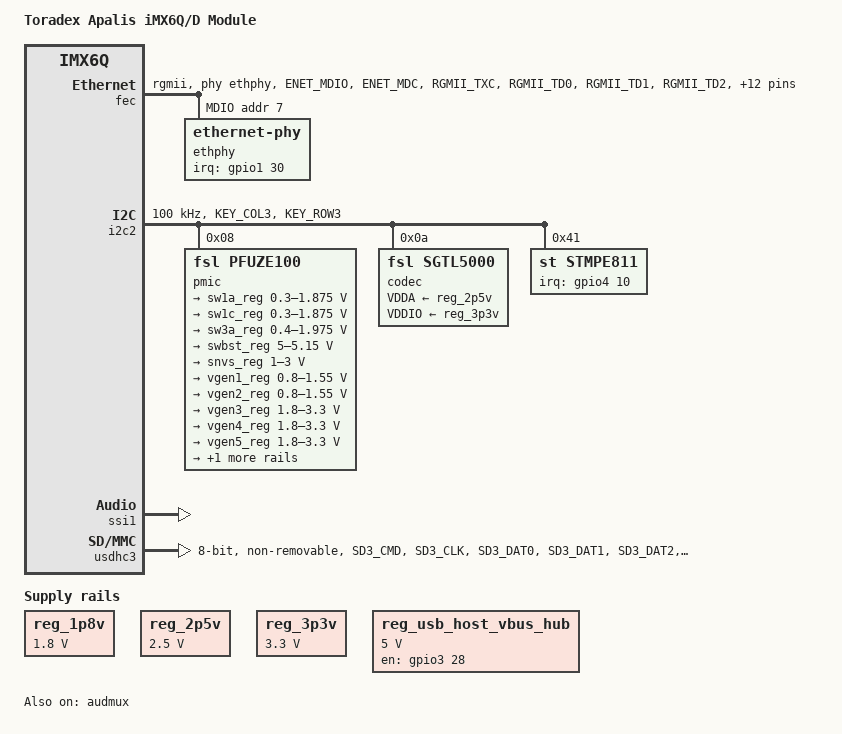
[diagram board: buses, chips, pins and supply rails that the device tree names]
/*
 * Copyright 2014-2016 Toradex AG
 * Copyright 2012 Freescale Semiconductor, Inc.
 * Copyright 2011 Linaro Ltd.
 *
 * This file is dual-licensed: you can use it either under the terms
 * of the GPL or the X11 license, at your option. Note that this dual
 * licensing only applies to this file, and not this project as a
 * whole.
 *
 *  a) This file is free software; you can redistribute it and/or
 *     modify it under the terms of the GNU General Public License
 *     version 2 as published by the Free Software Foundation.
 *
 *     This file is distributed in the hope that it will be useful
 *     but WITHOUT ANY WARRANTY; without even the implied warranty of
 *     MERCHANTABILITY or FITNESS FOR A PARTICULAR PURPOSE.  See the
 *     GNU General Public License for more details.
 *
 * Or, alternatively
 *
 *  b) Permission is hereby granted, free of charge, to any person
 *     obtaining a copy of this software and associated documentation
 *     files (the "Software"), to deal in the Software without
 *     restriction, including without limitation the rights to use
 *     copy, modify, merge, publish, distribute, sublicense, and/or
 *     sell copies of the Software, and to permit persons to whom the
 *     Software is furnished to do so, subject to the following
 *     conditions:
 *
 *     The above copyright notice and this permission notice shall be
 *     included in all copies or substantial portions of the Software.
 *
 *     THE SOFTWARE IS PROVIDED , WITHOUT WARRANTY OF ANY KIND
 *     EXPRESS OR IMPLIED, INCLUDING BUT NOT LIMITED TO THE WARRANTIES
 *     OF MERCHANTABILITY, FITNESS FOR A PARTICULAR PURPOSE AND
 *     NONINFRINGEMENT. IN NO EVENT SHALL THE AUTHORS OR COPYRIGHT
 *     HOLDERS BE LIABLE FOR ANY CLAIM, DAMAGES OR OTHER LIABILITY
 *     WHETHER IN AN ACTION OF CONTRACT, TORT OR OTHERWISE, ARISING
 *     FROM, OUT OF OR IN CONNECTION WITH THE SOFTWARE OR THE USE OR
 *     OTHER DEALINGS IN THE SOFTWARE.
 */

#include <dt-bindings/gpio/gpio.h>

/ {
	model = "Toradex Apalis iMX6Q/D Module";
	compatible = "toradex,apalis_imx6q", "fsl,imx6q";

	backlight: backlight {
		compatible = "pwm-backlight";
		pwms = <&pwm4 0 5000000>;
		status = "disabled";
	};

	/* DDC_I2C: I2C2_SDA/SCL on MXM3 205/207 */
	i2cddc: i2c@0 {
		compatible = "i2c-gpio";
		pinctrl-names = "default";
		pinctrl-0 = <&pinctrl_i2c_ddc>;
		gpios = <&gpio3 16 GPIO_ACTIVE_HIGH /* sda */
			 &gpio2 30 GPIO_ACTIVE_HIGH /* scl */
			>;
		i2c-gpio,delay-us = <2>;	/* ~100 kHz */
		status = "disabled";
	};

	reg_1p8v: regulator-1p8v {
		compatible = "regulator-fixed";
		regulator-name = "1P8V";
		regulator-min-microvolt = <1800000>;
		regulator-max-microvolt = <1800000>;
		regulator-always-on;
	};

	reg_2p5v: regulator-2p5v {
		compatible = "regulator-fixed";
		regulator-name = "2P5V";
		regulator-min-microvolt = <2500000>;
		regulator-max-microvolt = <2500000>;
		regulator-always-on;
	};

	reg_3p3v: regulator-3p3v {
		compatible = "regulator-fixed";
		regulator-name = "3P3V";
		regulator-min-microvolt = <3300000>;
		regulator-max-microvolt = <3300000>;
		regulator-always-on;
	};

	reg_usb_otg_vbus: regulator-usb-otg-vbus {
		compatible = "regulator-fixed";
		pinctrl-names = "default";
		pinctrl-0 = <&pinctrl_regulator_usbotg_pwr>;
		regulator-name = "usb_otg_vbus";
		regulator-min-microvolt = <5000000>;
		regulator-max-microvolt = <5000000>;
		gpio = <&gpio3 22 GPIO_ACTIVE_HIGH>;
		enable-active-high;
		status = "disabled";
	};

	/* on module USB hub */
	reg_usb_host_vbus_hub: regulator-usb-host-vbus-hub {
		compatible = "regulator-fixed";
		pinctrl-names = "default";
		pinctrl-0 = <&pinctrl_regulator_usbhub_pwr>;
		regulator-name = "usb_host_vbus_hub";
		regulator-min-microvolt = <5000000>;
		regulator-max-microvolt = <5000000>;
		gpio = <&gpio3 28 GPIO_ACTIVE_HIGH>;
		startup-delay-us = <2000>;
		enable-active-high;
		status = "okay";
	};

	reg_usb_host_vbus: regulator-usb-host-vbus {
		compatible = "regulator-fixed";
		pinctrl-names = "default";
		pinctrl-0 = <&pinctrl_regulator_usbh_pwr>;
		regulator-name = "usb_host_vbus";
		regulator-min-microvolt = <5000000>;
		regulator-max-microvolt = <5000000>;
		gpio =  <&gpio1 0 GPIO_ACTIVE_HIGH>;
		enable-active-high;
		vin-supply = <&reg_usb_host_vbus_hub>;
		status = "disabled";
	};

	sound {
		compatible = "fsl,imx-audio-sgtl5000";
		model = "imx6q-apalis-sgtl5000";
		ssi-controller = <&ssi1>;
		audio-codec = <&codec>;
		audio-routing =
			"LINE_IN", "Line In Jack",
			"MIC_IN", "Mic Jack",
			"Mic Jack", "Mic Bias",
			"Headphone Jack", "HP_OUT";
		mux-int-port = <1>;
		mux-ext-port = <4>;
	};

	sound_spdif: sound-spdif {
		compatible = "fsl,imx-audio-spdif";
		model = "imx-spdif";
		spdif-controller = <&spdif>;
		spdif-in;
		spdif-out;
		status = "disabled";
	};
};

&audmux {
	pinctrl-names = "default";
	pinctrl-0 = <&pinctrl_audmux>;
	status = "okay";
};

&can1 {
	pinctrl-names = "default";
	pinctrl-0 = <&pinctrl_flexcan1>;
	status = "disabled";
};

&can2 {
	pinctrl-names = "default";
	pinctrl-0 = <&pinctrl_flexcan2>;
	status = "disabled";
};

/* Apalis SPI1 */
&ecspi1 {
	fsl,spi-num-chipselects = <1>;
	cs-gpios = <&gpio5 25 GPIO_ACTIVE_HIGH>;
	pinctrl-names = "default";
	pinctrl-0 = <&pinctrl_ecspi1>;
	status = "disabled";
};

/* Apalis SPI2 */
&ecspi2 {
	fsl,spi-num-chipselects = <1>;
	cs-gpios = <&gpio2 26 GPIO_ACTIVE_HIGH>;
	pinctrl-names = "default";
	pinctrl-0 = <&pinctrl_ecspi2>;
	status = "disabled";
};

&fec {
	pinctrl-names = "default";
	pinctrl-0 = <&pinctrl_enet>;
	phy-mode = "rgmii";
	phy-handle = <&ethphy>;
	phy-reset-duration = <10>;
	phy-reset-gpios = <&gpio1 25 GPIO_ACTIVE_LOW>;
	status = "okay";

	mdio {
		#address-cells = <1>;
		#size-cells = <0>;

		ethphy: ethernet-phy@7 {
			interrupt-parent = <&gpio1>;
			interrupts = <30 IRQ_TYPE_LEVEL_LOW>;
			reg = <7>;
		};
	};
};

/*
 * GEN1_I2C: I2C1_SDA/SCL on MXM3 209/211 (e.g. RTC on carrier
 * board)
 */
&i2c1 {
	clock-frequency = <100000>;
	pinctrl-names = "default";
	pinctrl-0 = <&pinctrl_i2c1>;
	status = "disabled";
};

/*
 * PWR_I2C: power I2C to audio codec, PMIC, temperature sensor and
 * touch screen controller
 */
&i2c2 {
	clock-frequency = <100000>;
	pinctrl-names = "default";
	pinctrl-0 = <&pinctrl_i2c2>;
	status = "okay";

	pmic: pfuze100@08 {
		compatible = "fsl,pfuze100";
		reg = <0x08>;

		regulators {
			sw1a_reg: sw1ab {
				regulator-min-microvolt = <300000>;
				regulator-max-microvolt = <1875000>;
				regulator-boot-on;
				regulator-always-on;
				regulator-ramp-delay = <6250>;
			};

			sw1c_reg: sw1c {
				regulator-min-microvolt = <300000>;
				regulator-max-microvolt = <1875000>;
				regulator-boot-on;
				regulator-always-on;
				regulator-ramp-delay = <6250>;
			};

			sw3a_reg: sw3a {
				regulator-min-microvolt = <400000>;
				regulator-max-microvolt = <1975000>;
				regulator-boot-on;
				regulator-always-on;
			};

			swbst_reg: swbst {
				regulator-min-microvolt = <5000000>;
				regulator-max-microvolt = <5150000>;
				regulator-boot-on;
				regulator-always-on;
			};

			snvs_reg: vsnvs {
				regulator-min-microvolt = <1000000>;
				regulator-max-microvolt = <3000000>;
				regulator-boot-on;
				regulator-always-on;
			};

			vref_reg: vrefddr {
				regulator-boot-on;
				regulator-always-on;
			};

			vgen1_reg: vgen1 {
				regulator-min-microvolt = <800000>;
				regulator-max-microvolt = <1550000>;
				regulator-boot-on;
				regulator-always-on;
			};

			vgen2_reg: vgen2 {
				regulator-min-microvolt = <800000>;
				regulator-max-microvolt = <1550000>;
				regulator-boot-on;
				regulator-always-on;
			};

			vgen3_reg: vgen3 {
				regulator-min-microvolt = <1800000>;
				regulator-max-microvolt = <3300000>;
				regulator-boot-on;
				regulator-always-on;
			};

			vgen4_reg: vgen4 {
				regulator-min-microvolt = <1800000>;
				regulator-max-microvolt = <3300000>;
				regulator-boot-on;
				regulator-always-on;
			};

			vgen5_reg: vgen5 {
				regulator-min-microvolt = <1800000>;
				regulator-max-microvolt = <3300000>;
				regulator-boot-on;
				regulator-always-on;
			};

			vgen6_reg: vgen6 {
				regulator-min-microvolt = <1800000>;
				regulator-max-microvolt = <3300000>;
				regulator-boot-on;
				regulator-always-on;
			};
		};
	};

	codec: sgtl5000@0a {
		compatible = "fsl,sgtl5000";
		reg = <0x0a>;
		clocks = <&clks IMX6QDL_CLK_CKO>;
		VDDA-supply = <&reg_2p5v>;
		VDDIO-supply = <&reg_3p3v>;
	};

	/* STMPE811 touch screen controller */
	stmpe811@41 {
		compatible = "st,stmpe811";
		pinctrl-names = "default";
		pinctrl-0 = <&pinctrl_touch_int>;
		#address-cells = <1>;
		#size-cells = <0>;
		reg = <0x41>;
		interrupts = <10 IRQ_TYPE_LEVEL_LOW>;
		interrupt-parent = <&gpio4>;
		interrupt-controller;
		id = <0>;
		blocks = <0x5>;
		irq-trigger = <0x1>;

		stmpe_touchscreen {
			compatible = "st,stmpe-ts";
			reg = <0>;
			/* 3.25 MHz ADC clock speed */
			st,adc-freq = <1>;
			/* 8 sample average control */
			st,ave-ctrl = <3>;
			/* 7 length fractional part in z */
			st,fraction-z = <7>;
			/*
			 * 50 mA typical 80 mA max touchscreen drivers
			 * current limit value
			 */
			st,i-drive = <1>;
			/* 12-bit ADC */
			st,mod-12b = <1>;
			/* internal ADC reference */
			st,ref-sel = <0>;
			/* ADC converstion time: 80 clocks */
			st,sample-time = <4>;
			/* 1 ms panel driver settling time */
			st,settling = <3>;
			/* 5 ms touch detect interrupt delay */
			st,touch-det-delay = <5>;
		};
	};
};

/*
 * GEN2_I2C, CAM: I2C3_SDA/SCL on MXM3 201/203 (unused)
 */
&i2c3 {
	clock-frequency = <100000>;
	pinctrl-names = "default", "recovery";
	pinctrl-0 = <&pinctrl_i2c3>;
	pinctrl-1 = <&pinctrl_i2c3_recovery>;
	scl-gpios = <&gpio3 17 GPIO_ACTIVE_HIGH>;
	sda-gpios = <&gpio3 18 GPIO_ACTIVE_HIGH>;
	status = "disabled";
};

&pwm1 {
	pinctrl-names = "default";
	pinctrl-0 = <&pinctrl_pwm1>;
	status = "disabled";
};

&pwm2 {
	pinctrl-names = "default";
	pinctrl-0 = <&pinctrl_pwm2>;
	status = "disabled";
};

&pwm3 {
	pinctrl-names = "default";
	pinctrl-0 = <&pinctrl_pwm3>;
	status = "disabled";
};

&pwm4 {
	pinctrl-names = "default";
	pinctrl-0 = <&pinctrl_pwm4>;
	status = "disabled";
};

&spdif {
	pinctrl-names = "default";
	pinctrl-0 = <&pinctrl_spdif>;
	status = "disabled";
};

&ssi1 {
	status = "okay";
};

&uart1 {
	pinctrl-names = "default";
	pinctrl-0 = <&pinctrl_uart1_dte &pinctrl_uart1_ctrl>;
	fsl,dte-mode;
	uart-has-rtscts;
	status = "disabled";
};

&uart2 {
	pinctrl-names = "default";
	pinctrl-0 = <&pinctrl_uart2_dte>;
	fsl,dte-mode;
	uart-has-rtscts;
	status = "disabled";
};

&uart4 {
	pinctrl-names = "default";
	pinctrl-0 = <&pinctrl_uart4_dte>;
	fsl,dte-mode;
	status = "disabled";
};

&uart5 {
	pinctrl-names = "default";
	pinctrl-0 = <&pinctrl_uart5_dte>;
	fsl,dte-mode;
	status = "disabled";
};

&usbotg {
	pinctrl-names = "default";
	pinctrl-0 = <&pinctrl_usbotg>;
	disable-over-current;
	status = "disabled";
};

/* MMC1 */
&usdhc1 {
	pinctrl-names = "default";
	pinctrl-0 = <&pinctrl_usdhc1>;
	vqmmc-supply = <&reg_3p3v>;
	bus-width = <8>;
	voltage-ranges = <3300 3300>;
	status = "disabled";
};

/* SD1 */
&usdhc2 {
	pinctrl-names = "default";
	pinctrl-0 = <&pinctrl_usdhc2>;
	vqmmc-supply = <&reg_3p3v>;
	bus-width = <4>;
	voltage-ranges = <3300 3300>;
	status = "disabled";
};

/* eMMC */
&usdhc3 {
	pinctrl-names = "default";
	pinctrl-0 = <&pinctrl_usdhc3>;
	vqmmc-supply = <&reg_3p3v>;
	bus-width = <8>;
	voltage-ranges = <3300 3300>;
	non-removable;
	status = "okay";
};

&weim {
	status = "disabled";
};

&iomuxc {
	/* pins used on module */
	pinctrl-names = "default";
	pinctrl-0 = <&pinctrl_reset_moci>;

	pinctrl_apalis_gpio1: gpio2io04grp {
		fsl,pins = <
			MX6QDL_PAD_NANDF_D4__GPIO2_IO04 0x130b0
		>;
	};

	pinctrl_apalis_gpio2: gpio2io05grp {
		fsl,pins = <
			MX6QDL_PAD_NANDF_D5__GPIO2_IO05 0x130b0
		>;
	};

	pinctrl_apalis_gpio3: gpio2io06grp {
		fsl,pins = <
			MX6QDL_PAD_NANDF_D6__GPIO2_IO06 0x130b0
		>;
	};

	pinctrl_apalis_gpio4: gpio2io07grp {
		fsl,pins = <
			MX6QDL_PAD_NANDF_D7__GPIO2_IO07 0x130b0
		>;
	};

	pinctrl_apalis_gpio5: gpio6io10grp {
		fsl,pins = <
			MX6QDL_PAD_NANDF_RB0__GPIO6_IO10 0x130b0
		>;
	};

	pinctrl_apalis_gpio6: gpio6io09grp {
		fsl,pins = <
			MX6QDL_PAD_NANDF_WP_B__GPIO6_IO09 0x130b0
		>;
	};

	pinctrl_apalis_gpio7: gpio1io02grp {
		fsl,pins = <
			MX6QDL_PAD_GPIO_2__GPIO1_IO02 0x130b0
		>;
	};

	pinctrl_apalis_gpio8: gpio1io06grp {
		fsl,pins = <
			MX6QDL_PAD_GPIO_6__GPIO1_IO06 0x130b0
		>;
	};

	pinctrl_audmux: audmuxgrp {
		fsl,pins = <
			MX6QDL_PAD_DISP0_DAT20__AUD4_TXC	0x130b0
			MX6QDL_PAD_DISP0_DAT21__AUD4_TXD	0x130b0
			MX6QDL_PAD_DISP0_DAT22__AUD4_TXFS	0x130b0
			MX6QDL_PAD_DISP0_DAT23__AUD4_RXD	0x130b0
			/* SGTL5000 sys_mclk */
			MX6QDL_PAD_GPIO_5__CCM_CLKO1		0x130b0
		>;
	};

	pinctrl_cam_mclk: cammclkgrp {
		fsl,pins = <
			/* CAM sys_mclk */
			MX6QDL_PAD_NANDF_CS2__CCM_CLKO2 0x00b0
		>;
	};

	pinctrl_ecspi1: ecspi1grp {
		fsl,pins = <
			MX6QDL_PAD_CSI0_DAT6__ECSPI1_MISO 0x100b1
			MX6QDL_PAD_CSI0_DAT5__ECSPI1_MOSI 0x100b1
			MX6QDL_PAD_CSI0_DAT4__ECSPI1_SCLK 0x100b1
			/* SPI1 cs */
			MX6QDL_PAD_CSI0_DAT7__GPIO5_IO25 0x000b1
		>;
	};

	pinctrl_ecspi2: ecspi2grp {
		fsl,pins = <
			MX6QDL_PAD_EIM_OE__ECSPI2_MISO 0x100b1
			MX6QDL_PAD_EIM_CS1__ECSPI2_MOSI 0x100b1
			MX6QDL_PAD_EIM_CS0__ECSPI2_SCLK 0x100b1
			/* SPI2 cs */
			MX6QDL_PAD_EIM_RW__GPIO2_IO26 0x000b1
		>;
	};

	pinctrl_enet: enetgrp {
		fsl,pins = <
			MX6QDL_PAD_ENET_MDIO__ENET_MDIO		0x100b0
			MX6QDL_PAD_ENET_MDC__ENET_MDC		0x100b0
			MX6QDL_PAD_RGMII_TXC__RGMII_TXC		0x100b0
			MX6QDL_PAD_RGMII_TD0__RGMII_TD0		0x100b0
			MX6QDL_PAD_RGMII_TD1__RGMII_TD1		0x100b0
			MX6QDL_PAD_RGMII_TD2__RGMII_TD2		0x100b0
			MX6QDL_PAD_RGMII_TD3__RGMII_TD3		0x100b0
			MX6QDL_PAD_RGMII_TX_CTL__RGMII_TX_CTL	0x100b0
			MX6QDL_PAD_ENET_REF_CLK__ENET_TX_CLK	0x100b0
			MX6QDL_PAD_RGMII_RXC__RGMII_RXC		0x1b0b0
			MX6QDL_PAD_RGMII_RD0__RGMII_RD0		0x1b0b0
			MX6QDL_PAD_RGMII_RD1__RGMII_RD1		0x1b0b0
			MX6QDL_PAD_RGMII_RD2__RGMII_RD2		0x1b0b0
			MX6QDL_PAD_RGMII_RD3__RGMII_RD3		0x1b0b0
			MX6QDL_PAD_RGMII_RX_CTL__RGMII_RX_CTL	0x1b0b0
			/* Ethernet PHY reset */
			MX6QDL_PAD_ENET_CRS_DV__GPIO1_IO25	0x000b0
			/* Ethernet PHY interrupt */
			MX6QDL_PAD_ENET_TXD0__GPIO1_IO30	0x000b1
		>;
	};

	pinctrl_flexcan1: flexcan1grp {
		fsl,pins = <
			MX6QDL_PAD_GPIO_7__FLEXCAN1_TX 0x1b0b0
			MX6QDL_PAD_GPIO_8__FLEXCAN1_RX 0x1b0b0
		>;
	};

	pinctrl_flexcan2: flexcan2grp {
		fsl,pins = <
			MX6QDL_PAD_KEY_COL4__FLEXCAN2_TX 0x1b0b0
			MX6QDL_PAD_KEY_ROW4__FLEXCAN2_RX 0x1b0b0
		>;
	};

	pinctrl_gpio_keys: gpio1io04grp {
		fsl,pins = <
			/* Power button */
			MX6QDL_PAD_GPIO_4__GPIO1_IO04 0x1b0b0
		>;
	};

	pinctrl_hdmi_cec: hdmicecgrp {
		fsl,pins = <
			MX6QDL_PAD_KEY_ROW2__HDMI_TX_CEC_LINE 0x1f8b0
		>;
	};

	pinctrl_i2c_ddc: gpioi2cddcgrp {
		fsl,pins = <
			/* DDC bitbang */
			MX6QDL_PAD_EIM_EB2__GPIO2_IO30 0x1b0b0
			MX6QDL_PAD_EIM_D16__GPIO3_IO16 0x1b0b0
		>;
	};

	pinctrl_i2c1: i2c1grp {
		fsl,pins = <
			MX6QDL_PAD_CSI0_DAT8__I2C1_SDA 0x4001b8b1
			MX6QDL_PAD_CSI0_DAT9__I2C1_SCL 0x4001b8b1
		>;
	};

	pinctrl_i2c2: i2c2grp {
		fsl,pins = <
			MX6QDL_PAD_KEY_COL3__I2C2_SCL 0x4001b8b1
			MX6QDL_PAD_KEY_ROW3__I2C2_SDA 0x4001b8b1
		>;
	};

	pinctrl_i2c3: i2c3grp {
		fsl,pins = <
			MX6QDL_PAD_EIM_D17__I2C3_SCL 0x4001b8b1
			MX6QDL_PAD_EIM_D18__I2C3_SDA 0x4001b8b1
		>;
	};

	pinctrl_i2c3_recovery: i2c3recoverygrp {
		fsl,pins = <
			MX6QDL_PAD_EIM_D17__GPIO3_IO17 0x4001b8b1
			MX6QDL_PAD_EIM_D18__GPIO3_IO18 0x4001b8b1
		>;
	};

	pinctrl_ipu1_csi0: ipu1csi0grp { /* parallel camera */
		fsl,pins = <
			MX6QDL_PAD_CSI0_DAT12__IPU1_CSI0_DATA12  0xb0b1
			MX6QDL_PAD_CSI0_DAT13__IPU1_CSI0_DATA13  0xb0b1
			MX6QDL_PAD_CSI0_DAT14__IPU1_CSI0_DATA14  0xb0b1
			MX6QDL_PAD_CSI0_DAT15__IPU1_CSI0_DATA15  0xb0b1
			MX6QDL_PAD_CSI0_DAT16__IPU1_CSI0_DATA16  0xb0b1
			MX6QDL_PAD_CSI0_DAT17__IPU1_CSI0_DATA17  0xb0b1
			MX6QDL_PAD_CSI0_DAT18__IPU1_CSI0_DATA18  0xb0b1
			MX6QDL_PAD_CSI0_DAT19__IPU1_CSI0_DATA19  0xb0b1
			MX6QDL_PAD_CSI0_PIXCLK__IPU1_CSI0_PIXCLK 0xb0b1
			MX6QDL_PAD_CSI0_MCLK__IPU1_CSI0_HSYNC    0xb0b1
			MX6QDL_PAD_CSI0_VSYNC__IPU1_CSI0_VSYNC   0xb0b1
		>;
	};

	pinctrl_ipu1_lcdif: ipu1lcdifgrp {
		fsl,pins = <
			MX6QDL_PAD_EIM_A16__IPU1_DI1_DISP_CLK	0x61
			/* DE */
			MX6QDL_PAD_EIM_DA10__IPU1_DI1_PIN15	0x61
			/* HSync */
			MX6QDL_PAD_EIM_DA11__IPU1_DI1_PIN02	0x61
			/* VSync */
			MX6QDL_PAD_EIM_DA12__IPU1_DI1_PIN03	0x61
			MX6QDL_PAD_EIM_DA9__IPU1_DISP1_DATA00	0x61
			MX6QDL_PAD_EIM_DA8__IPU1_DISP1_DATA01	0x61
			MX6QDL_PAD_EIM_DA7__IPU1_DISP1_DATA02	0x61
			MX6QDL_PAD_EIM_DA6__IPU1_DISP1_DATA03	0x61
			MX6QDL_PAD_EIM_DA5__IPU1_DISP1_DATA04	0x61
			MX6QDL_PAD_EIM_DA4__IPU1_DISP1_DATA05	0x61
			MX6QDL_PAD_EIM_DA3__IPU1_DISP1_DATA06	0x61
			MX6QDL_PAD_EIM_DA2__IPU1_DISP1_DATA07	0x61
			MX6QDL_PAD_EIM_DA1__IPU1_DISP1_DATA08	0x61
			MX6QDL_PAD_EIM_DA0__IPU1_DISP1_DATA09	0x61
			MX6QDL_PAD_EIM_EB1__IPU1_DISP1_DATA10	0x61
			MX6QDL_PAD_EIM_EB0__IPU1_DISP1_DATA11	0x61
			MX6QDL_PAD_EIM_A17__IPU1_DISP1_DATA12	0x61
			MX6QDL_PAD_EIM_A18__IPU1_DISP1_DATA13	0x61
			MX6QDL_PAD_EIM_A19__IPU1_DISP1_DATA14	0x61
			MX6QDL_PAD_EIM_A20__IPU1_DISP1_DATA15	0x61
			MX6QDL_PAD_EIM_A21__IPU1_DISP1_DATA16	0x61
			MX6QDL_PAD_EIM_A22__IPU1_DISP1_DATA17	0x61
			MX6QDL_PAD_EIM_A23__IPU1_DISP1_DATA18	0x61
			MX6QDL_PAD_EIM_A24__IPU1_DISP1_DATA19	0x61
			MX6QDL_PAD_EIM_D31__IPU1_DISP1_DATA20	0x61
			MX6QDL_PAD_EIM_D30__IPU1_DISP1_DATA21	0x61
			MX6QDL_PAD_EIM_D26__IPU1_DISP1_DATA22	0x61
			MX6QDL_PAD_EIM_D27__IPU1_DISP1_DATA23	0x61
		>;
	};

	pinctrl_ipu2_vdac: ipu2vdacgrp {
		fsl,pins = <
			MX6QDL_PAD_DI0_DISP_CLK__IPU2_DI0_DISP_CLK 0xd1
			MX6QDL_PAD_DI0_PIN15__IPU2_DI0_PIN15       0xd1
			MX6QDL_PAD_DI0_PIN2__IPU2_DI0_PIN02        0xd1
			MX6QDL_PAD_DI0_PIN3__IPU2_DI0_PIN03        0xd1
			MX6QDL_PAD_DISP0_DAT0__IPU2_DISP0_DATA00   0xf9
			MX6QDL_PAD_DISP0_DAT1__IPU2_DISP0_DATA01   0xf9
			MX6QDL_PAD_DISP0_DAT2__IPU2_DISP0_DATA02   0xf9
			MX6QDL_PAD_DISP0_DAT3__IPU2_DISP0_DATA03   0xf9
			MX6QDL_PAD_DISP0_DAT4__IPU2_DISP0_DATA04   0xf9
			MX6QDL_PAD_DISP0_DAT5__IPU2_DISP0_DATA05   0xf9
			MX6QDL_PAD_DISP0_DAT6__IPU2_DISP0_DATA06   0xf9
			MX6QDL_PAD_DISP0_DAT7__IPU2_DISP0_DATA07   0xf9
			MX6QDL_PAD_DISP0_DAT8__IPU2_DISP0_DATA08   0xf9
			MX6QDL_PAD_DISP0_DAT9__IPU2_DISP0_DATA09   0xf9
			MX6QDL_PAD_DISP0_DAT10__IPU2_DISP0_DATA10  0xf9
			MX6QDL_PAD_DISP0_DAT11__IPU2_DISP0_DATA11  0xf9
			MX6QDL_PAD_DISP0_DAT12__IPU2_DISP0_DATA12  0xf9
			MX6QDL_PAD_DISP0_DAT13__IPU2_DISP0_DATA13  0xf9
			MX6QDL_PAD_DISP0_DAT14__IPU2_DISP0_DATA14  0xf9
			MX6QDL_PAD_DISP0_DAT15__IPU2_DISP0_DATA15  0xf9
		>;
	};

	pinctrl_mmc_cd: gpiommccdgrp {
		fsl,pins = <
			 /* MMC1 CD */
			MX6QDL_PAD_DI0_PIN4__GPIO4_IO20 0x000b0
		>;
	};

	pinctrl_pwm1: pwm1grp {
		fsl,pins = <
			MX6QDL_PAD_GPIO_9__PWM1_OUT 0x1b0b1
		>;
	};

	pinctrl_pwm2: pwm2grp {
		fsl,pins = <
			MX6QDL_PAD_GPIO_1__PWM2_OUT 0x1b0b1
		>;
	};

	pinctrl_pwm3: pwm3grp {
		fsl,pins = <
			MX6QDL_PAD_SD4_DAT1__PWM3_OUT 0x1b0b1
		>;
	};

	pinctrl_pwm4: pwm4grp {
		fsl,pins = <
			MX6QDL_PAD_SD4_DAT2__PWM4_OUT 0x1b0b1
		>;
	};

	pinctrl_regulator_usbh_pwr: gpioregusbhpwrgrp {
		fsl,pins = <
			/* USBH_EN */
			MX6QDL_PAD_GPIO_0__GPIO1_IO00 0x0f058
		>;
	};

	pinctrl_regulator_usbhub_pwr: gpioregusbhubpwrgrp {
		fsl,pins = <
			/* USBH_HUB_EN */
			MX6QDL_PAD_EIM_D28__GPIO3_IO28 0x0f058
		>;
	};

	pinctrl_regulator_usbotg_pwr: gpioregusbotgpwrgrp {
		fsl,pins = <
			/* USBO1 power en */
			MX6QDL_PAD_EIM_D22__GPIO3_IO22 0x0f058
		>;
	};

	pinctrl_reset_moci: gpioresetmocigrp {
		fsl,pins = <
			/* RESET_MOCI control */
			MX6QDL_PAD_ENET_TX_EN__GPIO1_IO28 0x0f058
		>;
	};

	pinctrl_sd_cd: gpiosdcdgrp {
		fsl,pins = <
			/* SD1 CD */
			MX6QDL_PAD_NANDF_CS1__GPIO6_IO14 0x000b0
		>;
	};

	pinctrl_spdif: spdifgrp {
		fsl,pins = <
			MX6QDL_PAD_GPIO_16__SPDIF_IN  0x1b0b0
			MX6QDL_PAD_GPIO_17__SPDIF_OUT 0x1b0b0
		>;
	};

	pinctrl_touch_int: gpiotouchintgrp {
		fsl,pins = <
			/* STMPE811 interrupt */
			MX6QDL_PAD_KEY_COL2__GPIO4_IO10 0x1b0b0
		>;
	};

	pinctrl_uart1_dce: uart1dcegrp {
		fsl,pins = <
			MX6QDL_PAD_CSI0_DAT10__UART1_TX_DATA 0x1b0b1
			MX6QDL_PAD_CSI0_DAT11__UART1_RX_DATA 0x1b0b1
		>;
	};

	/* DTE mode */
	pinctrl_uart1_dte: uart1dtegrp {
		fsl,pins = <
			MX6QDL_PAD_CSI0_DAT10__UART1_RX_DATA 0x1b0b1
			MX6QDL_PAD_CSI0_DAT11__UART1_TX_DATA 0x1b0b1
			MX6QDL_PAD_EIM_D19__UART1_RTS_B 0x1b0b1
			MX6QDL_PAD_EIM_D20__UART1_CTS_B 0x1b0b1
		>;
	};

	/* Additional DTR, DSR, DCD */
	pinctrl_uart1_ctrl: uart1ctrlgrp {
		fsl,pins = <
			MX6QDL_PAD_EIM_D23__UART1_DCD_B 0x1b0b0
			MX6QDL_PAD_EIM_D24__UART1_DTR_B 0x1b0b0
			MX6QDL_PAD_EIM_D25__UART1_DSR_B 0x1b0b0
		>;
	};

	pinctrl_uart2_dce: uart2dcegrp {
		fsl,pins = <
			MX6QDL_PAD_SD4_DAT4__UART2_RX_DATA	0x1b0b1
			MX6QDL_PAD_SD4_DAT7__UART2_TX_DATA	0x1b0b1
		>;
	};

	/* DTE mode */
	pinctrl_uart2_dte: uart2dtegrp {
		fsl,pins = <
			MX6QDL_PAD_SD4_DAT4__UART2_TX_DATA	0x1b0b1
			MX6QDL_PAD_SD4_DAT7__UART2_RX_DATA	0x1b0b1
			MX6QDL_PAD_SD4_DAT6__UART2_RTS_B	0x1b0b1
			MX6QDL_PAD_SD4_DAT5__UART2_CTS_B	0x1b0b1
		>;
	};

	pinctrl_uart4_dce: uart4dcegrp {
		fsl,pins = <
			MX6QDL_PAD_KEY_COL0__UART4_TX_DATA 0x1b0b1
			MX6QDL_PAD_KEY_ROW0__UART4_RX_DATA 0x1b0b1
		>;
	};

	/* DTE mode */
	pinctrl_uart4_dte: uart4dtegrp {
		fsl,pins = <
			MX6QDL_PAD_KEY_COL0__UART4_RX_DATA 0x1b0b1
			MX6QDL_PAD_KEY_ROW0__UART4_TX_DATA 0x1b0b1
		>;
	};

	pinctrl_uart5_dce: uart5dcegrp {
		fsl,pins = <
			MX6QDL_PAD_KEY_COL1__UART5_TX_DATA 0x1b0b1
			MX6QDL_PAD_KEY_ROW1__UART5_RX_DATA 0x1b0b1
		>;
	};

	/* DTE mode */
	pinctrl_uart5_dte: uart5dtegrp {
		fsl,pins = <
			MX6QDL_PAD_KEY_COL1__UART5_RX_DATA 0x1b0b1
			MX6QDL_PAD_KEY_ROW1__UART5_TX_DATA 0x1b0b1
		>;
	};

	pinctrl_usbotg: usbotggrp {
		fsl,pins = <
			MX6QDL_PAD_ENET_RX_ER__USB_OTG_ID 0x17059
		>;
	};

	pinctrl_usdhc1: usdhc1grp {
		fsl,pins = <
			MX6QDL_PAD_SD1_CMD__SD1_CMD    0x17071
			MX6QDL_PAD_SD1_CLK__SD1_CLK    0x10071
			MX6QDL_PAD_SD1_DAT0__SD1_DATA0 0x17071
			MX6QDL_PAD_SD1_DAT1__SD1_DATA1 0x17071
			MX6QDL_PAD_SD1_DAT2__SD1_DATA2 0x17071
			MX6QDL_PAD_SD1_DAT3__SD1_DATA3 0x17071
			MX6QDL_PAD_NANDF_D0__SD1_DATA4 0x17071
			MX6QDL_PAD_NANDF_D1__SD1_DATA5 0x17071
			MX6QDL_PAD_NANDF_D2__SD1_DATA6 0x17071
			MX6QDL_PAD_NANDF_D3__SD1_DATA7 0x17071
		>;
	};

	pinctrl_usdhc2: usdhc2grp {
		fsl,pins = <
			MX6QDL_PAD_SD2_CMD__SD2_CMD    0x17071
			MX6QDL_PAD_SD2_CLK__SD2_CLK    0x10071
			MX6QDL_PAD_SD2_DAT0__SD2_DATA0 0x17071
			MX6QDL_PAD_SD2_DAT1__SD2_DATA1 0x17071
			MX6QDL_PAD_SD2_DAT2__SD2_DATA2 0x17071
			MX6QDL_PAD_SD2_DAT3__SD2_DATA3 0x17071
		>;
	};

	pinctrl_usdhc3: usdhc3grp {
		fsl,pins = <
			MX6QDL_PAD_SD3_CMD__SD3_CMD    0x17059
			MX6QDL_PAD_SD3_CLK__SD3_CLK    0x10059
			MX6QDL_PAD_SD3_DAT0__SD3_DATA0 0x17059
			MX6QDL_PAD_SD3_DAT1__SD3_DATA1 0x17059
			MX6QDL_PAD_SD3_DAT2__SD3_DATA2 0x17059
			MX6QDL_PAD_SD3_DAT3__SD3_DATA3 0x17059
			MX6QDL_PAD_SD3_DAT4__SD3_DATA4 0x17059
			MX6QDL_PAD_SD3_DAT5__SD3_DATA5 0x17059
			MX6QDL_PAD_SD3_DAT6__SD3_DATA6 0x17059
			MX6QDL_PAD_SD3_DAT7__SD3_DATA7 0x17059
			/* eMMC reset */
			MX6QDL_PAD_SD3_RST__SD3_RESET  0x17059
		>;
	};

	pinctrl_usdhc3_100mhz: usdhc3100mhzgrp {
		fsl,pins = <
			MX6QDL_PAD_SD3_CMD__SD3_CMD    0x170b9
			MX6QDL_PAD_SD3_CLK__SD3_CLK    0x100b9
			MX6QDL_PAD_SD3_DAT0__SD3_DATA0 0x170b9
			MX6QDL_PAD_SD3_DAT1__SD3_DATA1 0x170b9
			MX6QDL_PAD_SD3_DAT2__SD3_DATA2 0x170b9
			MX6QDL_PAD_SD3_DAT3__SD3_DATA3 0x170b9
			MX6QDL_PAD_SD3_DAT4__SD3_DATA4 0x170b9
			MX6QDL_PAD_SD3_DAT5__SD3_DATA5 0x170b9
			MX6QDL_PAD_SD3_DAT6__SD3_DATA6 0x170b9
			MX6QDL_PAD_SD3_DAT7__SD3_DATA7 0x170b9
			/* eMMC reset */
			MX6QDL_PAD_SD3_RST__SD3_RESET  0x170b9
		>;
	};

	pinctrl_usdhc3_200mhz: usdhc3200mhzgrp {
		fsl,pins = <
			MX6QDL_PAD_SD3_CMD__SD3_CMD    0x170f9
			MX6QDL_PAD_SD3_CLK__SD3_CLK    0x100f9
			MX6QDL_PAD_SD3_DAT0__SD3_DATA0 0x170f9
			MX6QDL_PAD_SD3_DAT1__SD3_DATA1 0x170f9
			MX6QDL_PAD_SD3_DAT2__SD3_DATA2 0x170f9
			MX6QDL_PAD_SD3_DAT3__SD3_DATA3 0x170f9
			MX6QDL_PAD_SD3_DAT4__SD3_DATA4 0x170f9
			MX6QDL_PAD_SD3_DAT5__SD3_DATA5 0x170f9
			MX6QDL_PAD_SD3_DAT6__SD3_DATA6 0x170f9
			MX6QDL_PAD_SD3_DAT7__SD3_DATA7 0x170f9
			/* eMMC reset */
			MX6QDL_PAD_SD3_RST__SD3_RESET  0x170f9
		>;
	};
};
